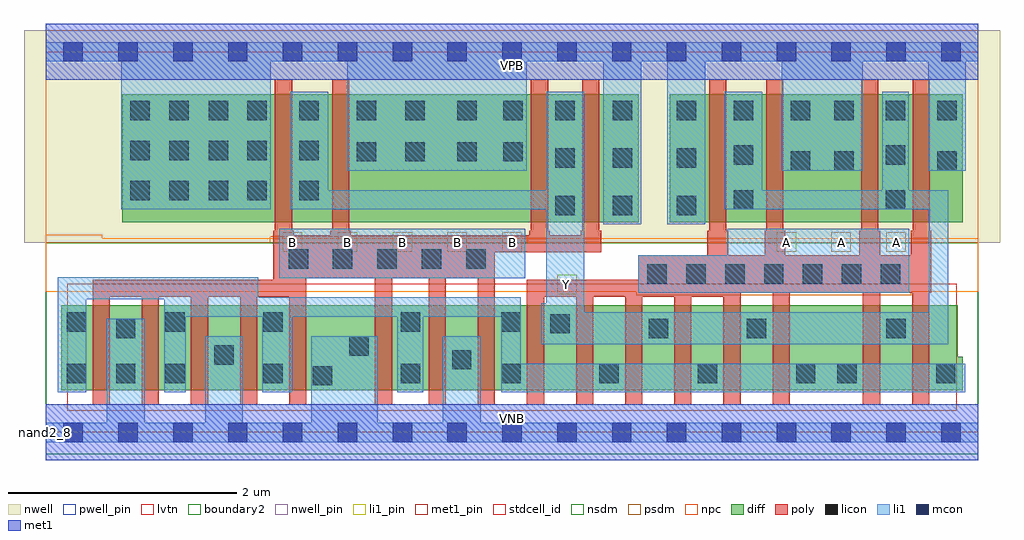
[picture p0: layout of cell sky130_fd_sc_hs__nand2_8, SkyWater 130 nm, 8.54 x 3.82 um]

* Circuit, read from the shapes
.subckt sky130_fd_sc_hs__nand2_8 A B VGND VNB VPB VPWR Y
XM1 VGND B n1 VNB sky130_fd_pr__nfet_01v8_lvt w=0.74 l=0.15 m=8
XM2 Y A n1 VNB sky130_fd_pr__nfet_01v8_lvt w=0.74 l=0.15 m=8
XM3 Y B VPWR VPB sky130_fd_pr__pfet_01v8 w=1.12 l=0.15 m=4
XM4 Y A VPWR VPB sky130_fd_pr__pfet_01v8 w=1.12 l=0.15 m=4
.ends

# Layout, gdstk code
import gdstk
lib = gdstk.Library(unit=1e-6, precision=1e-09)
def R(c, l, rs):  # rectangles x0, y0, x1, y1
    for r in rs: c.add(gdstk.rectangle(r[:2], r[2:], *l))
def A(c, l, x, y, w, h, nx, ny, dx, dy):  # array of equal rectangles
    R(c, l, [(x+i*dx, y+j*dy, x+i*dx+w, y+j*dy+h) for i in range(nx) for j in range(ny)])
def P(c, l, *ps):  # polygons
    for p in ps: c.add(gdstk.Polygon(p, *l))
nwell_pin = (64, 16)
nwell = (64, 20)
diff = (65, 20)
poly = (66, 20)
licon = (66, 44)
li1_pin = (67, 16)
li1 = (67, 20)
mcon = (67, 44)
met1_pin = (68, 16)
met1 = (68, 20)
stdcell_id = (81, 4)
nsdm = (93, 44)
psdm = (94, 20)
npc = (95, 20)
pwell_pin = (122, 16)
lvtn = (125, 44)
boundary2 = (236, 0)

sky130_fd_sc_hs__nand2_8 = lib.new_cell('sky130_fd_sc_hs__nand2_8')
R(sky130_fd_sc_hs__nand2_8, nwell_pin, [(0,3.085,8.16,3.33)])
R(sky130_fd_sc_hs__nand2_8, nwell, [(-0.19,1.66,8.35,3.52)])
R(sky130_fd_sc_hs__nand2_8, diff, [(0.67,1.84,5.19,2.96), (5.46,1.84,8.025,2.96)])
P(sky130_fd_sc_hs__nand2_8, diff, [(8.025,0.66),(7.98,0.66),(7.98,1.11),(0.135,1.11),(0.135,0.37),(8.025,0.37)])
P(sky130_fd_sc_hs__nand2_8, poly, [(4.86,1.765),(4.845,1.765),(4.845,3.09),(4.695,3.09),(4.695,1.765),(4.68,1.765),(4.68,1.725),(4.41,1.725),(4.41,1.765),(4.395,1.765),(4.395,3.09),(4.245,3.09),(4.245,1.765),(4.23,1.765),(4.23,1.725),(2.67,1.725),(2.67,1.765),(2.655,1.765),(2.655,3.09),(2.505,3.09),(2.505,1.765),(2.49,1.765),(2.49,1.725),(2.17,1.725),(2.17,1.765),(2.155,1.765),(2.155,3.09),(2.005,3.09),(2.005,1.765),(1.99,1.765),(1.99,1.335),(0.41,1.335),(0.41,0.24),(0.56,0.24),(0.56,1.185),(0.84,1.185),(0.84,0.24),(0.99,0.24),(0.99,1.185),(1.27,1.185),(1.27,0.24),(1.42,0.24),(1.42,1.185),(1.7,1.185),(1.7,0.24),(1.85,0.24),(1.85,1.185),(2.13,1.185),(2.13,0.24),(2.28,0.24),(2.28,1.35),(2.88,1.35),(2.88,0.24),(3.03,0.24),(3.03,1.35),(3.35,1.35),(3.35,0.24),(3.5,0.24),(3.5,1.35),(3.78,1.35),(3.78,0.24),(3.93,0.24),(3.93,1.575),(4.86,1.575)],
  [(7.75,1.765),(7.735,1.765),(7.735,3.09),(7.585,3.09),(7.585,1.765),(7.57,1.765),(7.57,1.55),(7.3,1.55),(7.3,1.765),(7.285,1.765),(7.285,3.09),(7.135,3.09),(7.135,1.765),(7.12,1.765),(7.12,1.55),(6.47,1.55),(6.47,1.765),(6.455,1.765),(6.455,3.09),(6.305,3.09),(6.305,1.765),(6.29,1.765),(6.29,1.55),(5.97,1.55),(5.97,1.765),(5.955,1.765),(5.955,3.09),(5.805,3.09),(5.805,1.765),(5.79,1.765),(5.79,1.55),(5.185,1.55),(5.185,1.335),(4.21,1.335),(4.21,0.24),(4.36,0.24),(4.36,1.185),(4.64,1.185),(4.64,0.24),(4.79,0.24),(4.79,1.185),(5.07,1.185),(5.07,0.24),(5.22,0.24),(5.22,1.185),(5.5,1.185),(5.5,0.24),(5.65,0.24),(5.65,1.185),(5.93,1.185),(5.93,0.24),(6.08,0.24),(6.08,1.22),(6.36,1.22),(6.36,0.24),(6.51,0.24),(6.51,1.22),(7.15,1.22),(7.15,0.24),(7.3,0.24),(7.3,1.22),(7.58,1.22),(7.58,0.24),(7.73,0.24),(7.73,1.22),(7.75,1.22)])
A(sky130_fd_sc_hs__nand2_8, licon, 0.185, 0.43, 0.17, 0.17, 3, 1, 0.43, 0)
A(sky130_fd_sc_hs__nand2_8, licon, 3.985, 0.43, 0.17, 0.17, 4, 1, 0.86, 0)
A(sky130_fd_sc_hs__nand2_8, licon, 0.185, 0.88, 0.17, 0.17, 3, 1, 0.86, 0)
A(sky130_fd_sc_hs__nand2_8, licon, 5.265, 1.3, 0.17, 0.17, 7, 1, 0.34, 0)
A(sky130_fd_sc_hs__nand2_8, licon, 2.51, 1.43, 0.17, 0.17, 4, 1, 0.39, 0)
A(sky130_fd_sc_hs__nand2_8, licon, 4.46, 1.9, 0.17, 0.17, 1, 3, 0, 0.415)
A(sky130_fd_sc_hs__nand2_8, licon, 4.96, 1.9, 0.17, 0.17, 1, 3, 0, 0.415)
A(sky130_fd_sc_hs__nand2_8, licon, 0.74, 2.03, 0.17, 0.17, 1, 3, 0, 0.35)
A(sky130_fd_sc_hs__nand2_8, licon, 1.08, 2.03, 0.17, 0.17, 1, 3, 0, 0.35)
A(sky130_fd_sc_hs__nand2_8, licon, 1.425, 2.03, 0.17, 0.17, 1, 3, 0, 0.35)
A(sky130_fd_sc_hs__nand2_8, licon, 1.765, 2.03, 0.17, 0.17, 1, 3, 0, 0.35)
A(sky130_fd_sc_hs__nand2_8, licon, 2.22, 2.03, 0.17, 0.17, 1, 3, 0, 0.35)
A(sky130_fd_sc_hs__nand2_8, licon, 5.52, 2.73, 0.17, 0.17, 3, 1, 0.5, 0)
A(sky130_fd_sc_hs__nand2_8, licon, 6.9, 2.73, 0.17, 0.17, 3, 1, 0.45, 0)
R(sky130_fd_sc_hs__nand2_8, licon, [(2.335,0.41,2.505,0.58), (1.905,0.43,2.075,0.6), (3.105,0.43,3.275,0.6), (6.925,0.43,7.095,0.6), (7.79,0.43,7.96,0.6), (3.555,0.55,3.725,0.72), (1.475,0.59,1.645,0.76), (2.655,0.67,2.825,0.84), (0.615,0.825,0.785,0.995), (5.275,0.825,5.445,0.995), (6.135,0.825,6.305,0.995), (7.355,0.825,7.525,0.995), (4.415,0.865,4.585,1.035), (3.105,0.88,3.275,1.05), (3.985,0.88,4.155,1.05), (2.125,1.43,2.295,1.6), (5.52,1.9,5.69,2.07), (6.02,1.95,6.19,2.12), (7.35,1.95,7.52,2.12), (6.52,2.29,6.69,2.46), (6.9,2.29,7.07,2.46), (7.8,2.29,7.97,2.46), (5.52,2.315,5.69,2.485), (6.02,2.34,6.19,2.51), (7.35,2.34,7.52,2.51), (2.72,2.37,2.89,2.54), (3.145,2.37,3.315,2.54), (3.6,2.37,3.77,2.54), (4.005,2.37,4.175,2.54), (2.72,2.73,2.89,2.9), (3.145,2.73,3.315,2.9), (3.6,2.73,3.77,2.9), (4.005,2.73,4.175,2.9)])
A(sky130_fd_sc_hs__nand2_8, li1_pin, 2.075, 1.58, 0.17, 0.17, 5, 1, 0.48, 0)
A(sky130_fd_sc_hs__nand2_8, li1_pin, 6.395, 1.58, 0.17, 0.17, 3, 1, 0.48, 0)
R(sky130_fd_sc_hs__nand2_8, li1_pin, [(4.475,1.21,4.645,1.38)])
R(sky130_fd_sc_hs__nand2_8, li1, [(2.045,1.35,4.195,1.78)])
P(sky130_fd_sc_hs__nand2_8, li1, [(8.16,3.415),(0,3.415),(0,3.245),(0.66,3.245),(0.66,1.95),(1.97,1.95),(1.97,3.245),(2.64,3.245),(2.64,2.29),(4.21,2.29),(4.21,3.245),(4.88,3.245),(4.88,1.82),(5.21,1.82),(5.21,3.245),(5.44,3.245),(5.44,1.82),(5.77,1.82),(5.77,3.245),(6.44,3.245),(6.44,2.29),(7.15,2.29),(7.15,3.245),(7.72,3.245),(7.72,2.29),(8.05,2.29),(8.05,3.245),(8.16,3.245)],
  [(8.16,0.085),(3.805,0.085),(3.805,0.84),(3.475,0.84),(3.475,0.085),(2.905,0.085),(2.905,0.84),(2.325,0.84),(2.325,0.085),(1.725,0.085),(1.725,0.84),(1.395,0.84),(1.395,0.085),(0.865,0.085),(0.865,0.995),(0.535,0.995),(0.535,0.085),(0,0.085),(0,-0.085),(8.16,-0.085)],
  [(7.555,1.78),(5.965,1.78),(5.965,1.55),(5.185,1.55),(5.185,1.22),(7.555,1.22)],
  [(8.045,0.6),(4.155,0.6),(4.155,1.18),(1.86,1.18),(1.86,1.355),(0.105,1.355),(0.105,0.35),(0.355,0.35),(0.355,1.165),(1.035,1.165),(1.035,0.35),(1.225,0.35),(1.225,1.01),(1.895,1.01),(1.895,0.35),(2.155,0.35),(2.155,1.01),(3.075,1.01),(3.075,0.35),(3.305,0.35),(3.305,1.01),(3.985,1.01),(3.985,0.35),(8.045,0.35)],
  [(7.895,2.12),(7.55,2.12),(7.55,2.98),(7.32,2.98),(7.32,2.12),(6.27,2.12),(6.27,2.98),(5.94,2.98),(5.94,1.95),(7.725,1.95),(7.725,1.05),(4.71,1.05),(4.71,2.98),(4.38,2.98),(4.38,2.12),(2.47,2.12),(2.47,2.98),(2.14,2.98),(2.14,1.95),(4.38,1.95),(4.38,1.13),(4.335,1.13),(4.335,0.77),(7.895,0.77)])
A(sky130_fd_sc_hs__nand2_8, mcon, 0.155, -0.085, 0.17, 0.17, 17, 2, 0.48, 3.33)
R(sky130_fd_sc_hs__nand2_8, met1_pin, [(0,0,8.16,0.245), (0,3.085,8.16,3.33)])
R(sky130_fd_sc_hs__nand2_8, met1, [(0,-0.245,8.16,0.245), (0,3.085,8.16,3.575)])
R(sky130_fd_sc_hs__nand2_8, stdcell_id, [(0,0,8.16,3.33)])
R(sky130_fd_sc_hs__nand2_8, nsdm, [(0,-0.19,8.16,1.66)])
P(sky130_fd_sc_hs__nand2_8, psdm, [(8.16,3.52),(0,3.52),(0,1.66),(1.965,1.66),(1.965,1.71),(4.215,1.71),(4.215,1.66),(8.16,1.66)])
P(sky130_fd_sc_hs__nand2_8, npc, [(8.16,1.7),(0.495,1.7),(0.495,1.73),(0,1.73),(0,1.23),(5.165,1.23),(5.165,1.2),(7.575,1.2),(7.575,1.23),(8.16,1.23)])
R(sky130_fd_sc_hs__nand2_8, pwell_pin, [(0,0,8.16,0.245)])
R(sky130_fd_sc_hs__nand2_8, lvtn, [(0.19,0.19,7.97,1.3)])
R(sky130_fd_sc_hs__nand2_8, boundary2, [(0,0,8.16,3.33)])
sky130_fd_sc_hs__nand2_8.add(gdstk.Label('nand2_8', (0,0), layer=83, texttype=44))
sky130_fd_sc_hs__nand2_8.add(gdstk.Label('VNB', (4.08,0.123), layer=64, texttype=59))
sky130_fd_sc_hs__nand2_8.add(gdstk.Label('VPB', (4.08,3.208), layer=64, texttype=5))
sky130_fd_sc_hs__nand2_8.add(gdstk.Label('VPWR', (4.08,3.208), layer=68, texttype=5))
sky130_fd_sc_hs__nand2_8.add(gdstk.Label('VGND', (4.08,0.123), layer=68, texttype=5))
sky130_fd_sc_hs__nand2_8.add(gdstk.Label('B', (2.16,1.665), layer=67, texttype=5))
sky130_fd_sc_hs__nand2_8.add(gdstk.Label('B', (2.64,1.665), layer=67, texttype=5))
sky130_fd_sc_hs__nand2_8.add(gdstk.Label('B', (3.12,1.665), layer=67, texttype=5))
sky130_fd_sc_hs__nand2_8.add(gdstk.Label('B', (3.6,1.665), layer=67, texttype=5))
sky130_fd_sc_hs__nand2_8.add(gdstk.Label('B', (4.08,1.665), layer=67, texttype=5))
sky130_fd_sc_hs__nand2_8.add(gdstk.Label('A', (6.48,1.665), layer=67, texttype=5))
sky130_fd_sc_hs__nand2_8.add(gdstk.Label('A', (6.96,1.665), layer=67, texttype=5))
sky130_fd_sc_hs__nand2_8.add(gdstk.Label('A', (7.44,1.665), layer=67, texttype=5))
sky130_fd_sc_hs__nand2_8.add(gdstk.Label('Y', (4.56,1.295), layer=67, texttype=5))

lib.write_gds('sky130_fd_sc_hs__nand2_8.gds')
